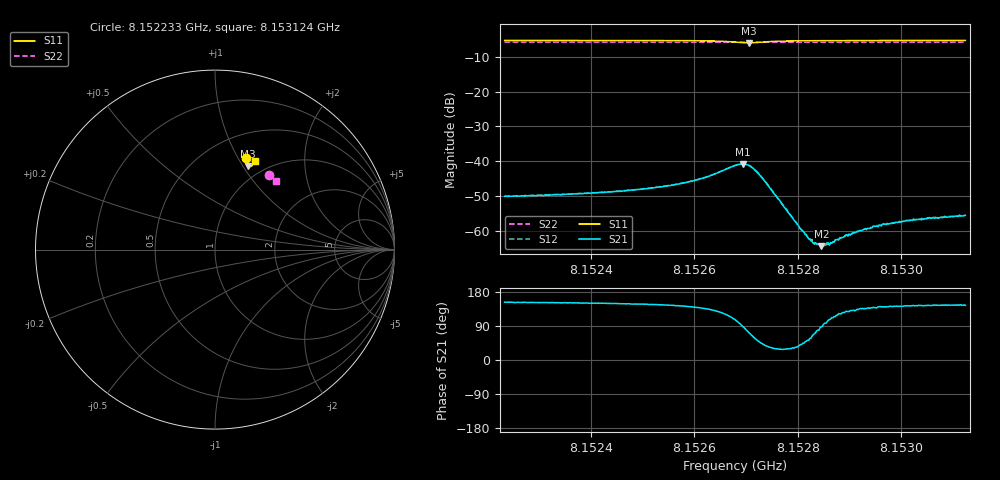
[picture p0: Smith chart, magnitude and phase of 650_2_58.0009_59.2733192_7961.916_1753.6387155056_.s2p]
#  HZ  S  RI  R  50.00
! Rohde & Schwarz Vector Network Analyzer
! Rohde-Schwarz,ZNB20-2Port,1311601062101988,3.16
! Created: UTC 3/21/2024, 1:19:25 AM
! freq[Hz]  re:S11  im:S11  re:S21  im:S21  re:S12  im:S12  re:S22  im:S22
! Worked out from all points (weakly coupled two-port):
!   401 points, 8.152233 GHz to 8.153124 GHz, reference 50 ohm
!   highest |S21| = -40.80 dB at 8.152694 GHz (marker M1); lowest = -64.4 dB at 8.152846 GHz (marker M2)
!   lowest |S11| = -6.0 dB at 8.152706 GHz (marker M3), VSWR 2.99, Z = 42.7 + j52.7 ohm
!   |S11| at or under -10 dB: nowhere
!   |S22| runs from -5.9 to -5.8 dB; largest |S21 - S12| = 0.00015
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8.1522332e9  0.173 0.5121  -0.00276 0.00144  -0.00276 0.00148  0.2984 0.4158
8.1523825e9  0.1844 0.5081  -0.00296 0.00172  -0.00297 0.00174  0.3062 0.41
8.1524605e9  0.1908 0.5057  -0.00314 0.00194  -0.00316 0.00201  0.3101 0.4068
8.1525318e9  0.1974 0.5022  -0.0035 0.00237  -0.00351 0.00246  0.3138 0.404
8.1526053e9  0.2061 0.4954  -0.00403 0.00357  -0.00404 0.00364  0.3174 0.4008
8.1526365e9  0.2104 0.4887  -0.00423 0.00479  -0.00424 0.00485  0.3188 0.3993
8.1526788e9  0.2079 0.4688  -0.00245 0.00831  -0.00238 0.00839  0.3204 0.3967
8.1526944e9  0.1961 0.4619  0.000337 0.00912  0.000371 0.00915  0.3207 0.3961
8.1527056e9  0.1848 0.4635  0.0026 0.00825  0.00265 0.00831  0.3209 0.3961
8.1527167e9  0.1766 0.471  0.00401 0.00636  0.00412 0.00645  0.3211 0.3959
8.1527301e9  0.1741 0.4818  0.00423 0.00408  0.0043 0.00408  0.3219 0.3958
8.1528036e9  0.1919 0.5  0.000868 0.000693  0.000881 0.000636  0.3261 0.3932
8.1528281e9  0.1964 0.5003  0.000312 0.000623  0.00036 0.000658  0.3276 0.3922
8.152837e9  0.1975 0.5004  0.000143 0.00062  0.000193 0.000615  0.3277 0.3918
8.152846e9  0.1988 0.5002  3.11e-05 0.000604  4.99e-05 0.000598  0.3283 0.3914
8.152866e9  0.2014 0.5  -0.000245 0.000612  -0.000202 0.000636  0.3295 0.3907
8.1528771e9  0.2028 0.4998  -0.00036 0.000665  -0.000328 0.000639  0.3299 0.3902
8.152895e9  0.2048 0.4994  -0.000543 0.000687  -0.00049 0.00071  0.3309 0.3894
8.1529328e9  0.2084 0.4984  -0.000755 0.000735  -0.000745 0.000714  0.3328 0.3878
8.1529774e9  0.2124 0.4972  -0.000994 0.000782  -0.001 0.000825  0.3347 0.3858
8.1530532e9  0.2185 0.4951  -0.00124 0.000886  -0.00125 0.000899  0.3384 0.3825
8.1531245e9  0.2238 0.4931  -0.00135 0.000969  -0.00135 0.001  0.3417 0.3796
